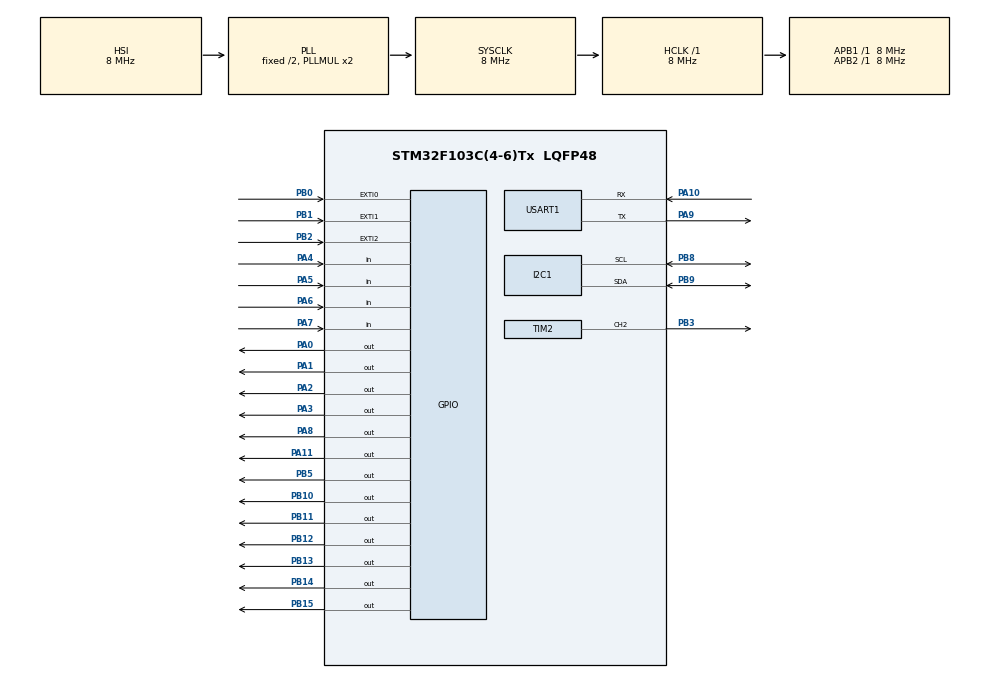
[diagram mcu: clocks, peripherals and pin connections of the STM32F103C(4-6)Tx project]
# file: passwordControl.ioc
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I2C1.I2C_Mode=I2C_Fast
Mcu.Family=STM32F1
Mcu.Name=STM32F103C(4-6)Tx
Mcu.Package=LQFP48
NVIC.EXTI0_IRQn=true\:0\:0\:false\:false\:true\:true\:true\:true
NVIC.EXTI1_IRQn=true\:0\:0\:false\:false\:true\:true\:true\:true
NVIC.EXTI2_IRQn=true\:0\:0\:false\:false\:true\:true\:true\:true
NVIC.PVD_IRQn=true\:0\:0\:false\:false\:true\:true\:true\:true
NVIC.PriorityGroup=NVIC_PRIORITYGROUP_4
PA0-WKUP.Signal=GPIO_Output
PA1.Signal=GPIO_Output
PA10.Mode=Asynchronous
PA10.Signal=USART1_RX
PA11.Signal=GPIO_Output
PA2.Signal=GPIO_Output
PA3.Signal=GPIO_Output
PA4.GPIO_PuPd=GPIO_PULLUP
PA4.Signal=GPIO_Input
PA5.GPIO_PuPd=GPIO_PULLUP
PA5.Signal=GPIO_Input
PA6.GPIO_PuPd=GPIO_PULLUP
PA6.Signal=GPIO_Input
PA7.GPIO_PuPd=GPIO_PULLUP
PA7.Signal=GPIO_Input
PA8.Signal=GPIO_Output
PA9.Mode=Asynchronous
PA9.Signal=USART1_TX
PB0.Signal=GPXTI0
PB1.Signal=GPXTI1
PB10.Signal=GPIO_Output
PB11.Signal=GPIO_Output
PB12.Signal=GPIO_Output
PB13.Signal=GPIO_Output
PB14.Signal=GPIO_Output
PB15.Signal=GPIO_Output
PB2.Signal=GPXTI2
PB3.Signal=S_TIM2_CH2
PB5.Signal=GPIO_Output
PB8.Mode=I2C
PB8.Signal=I2C1_SCL
PB9.Mode=I2C
PB9.Signal=I2C1_SDA
ProjectManager.HeapSize=0x200
ProjectManager.StackSize=0x400
ProjectManager.TargetToolchain=STM32CubeIDE
RCC.AHBFreq_Value=8000000
RCC.APB1Freq_Value=8000000
RCC.APB1TimFreq_Value=8000000
RCC.APB2Freq_Value=8000000
RCC.APB2TimFreq_Value=8000000
RCC.HCLKFreq_Value=8000000
RCC.SYSCLKFreq_VALUE=8000000
RCC.SYSCLKSource=RCC_SYSCLKSOURCE_PLLCLK
RCC.USBFreq_Value=8000000
SH.S_TIM2_CH2.0=TIM2_CH2,PWM Generation2 CH2
TIM2.Channel-PWM\ Generation2\ CH2=TIM_CHANNEL_2
TIM2.Period=1000
TIM2.Prescaler=160 -1
USART1.VirtualMode=VM_ASYNC
VP_SYS_VS_ND.Mode=No_Debug
VP_TIM2_VS_ClockSourceINT.Mode=Internal
board=custom

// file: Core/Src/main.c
/* USER CODE BEGIN Header */
/**
 ******************************************************************************
 * @file           : main.c
 * @brief          : Main program body
 ******************************************************************************
 * @attention
 *
 * Copyright (c) 2024 STMicroelectronics.
 * All rights reserved.
 *
 * This software is licensed under terms that can be found in the LICENSE file
 * in the root directory of this software component.
 * If no LICENSE file comes with this software, it is provided AS-IS.
 *
 ******************************************************************************
 */
/* USER CODE END Header */
#include "main.h"

/* USER CODE BEGIN Includes */
#include<string.h>
#include <stdlib.h>
#include"lcd_txt.h"
#include"keypad.h"
#include"EEPROM.h"

/* USER CODE END Includes */

/* USER CODE BEGIN PD */

#define changePassPB GPIO_PIN_0
#define doorUnlockPB GPIO_PIN_1
#define desactivateBuzzerPB  GPIO_PIN_2

#define PWM_Timer htim2
#define PWM_Channel TIM_CHANNEL_2

/* USER CODE END PD */

I2C_HandleTypeDef hi2c1;

TIM_HandleTypeDef htim2;

UART_HandleTypeDef huart1;

/* USER CODE BEGIN PV */

char password[5];
char entry[5];

int buzzerDesact =0;
int attemptsCount = 0;
int passwordcheck =0 ;
int newPass = 0;
int doorUnlock= 0;
int k=0;
int j = 0;

/* USER CODE END PV */

void SystemClock_Config(void);
static void MX_GPIO_Init(void);
static void MX_USART1_UART_Init(void);
static void MX_TIM2_Init(void);
static void MX_I2C1_Init(void);
/* USER CODE BEGIN PFP */

void SetServoAngle(int angle);
void HAL_GPIO_EXTI_Callback(uint16_t GPIO_Pin);

/* USER CODE END PFP */

int main(void)
{

	/* MCU Configuration--------------------------------------------------------*/

	/* Reset of all peripherals, Initializes the Flash interface and the Systick. */
	HAL_Init();

	/* Configure the system clock */
	SystemClock_Config();

	/* Initialize all configured peripherals */
	MX_GPIO_Init();
	MX_USART1_UART_Init();
	MX_TIM2_Init();
	MX_I2C1_Init();
	/* USER CODE BEGIN 2 */

	lcd_init();
	lcd_put_cur(1,6);

	// Password is located on the 3rd page at the offset 0x0 of the external EEPROM
	//EEPROM_Read(3, 0,(uint8_t*)password, 4);
	strcpy(password, "1234");

	/* USER CODE END 2 */

	/* Infinite loop */
	while (1)
	{
		/* USER CODE BEGIN 3 */

		if ((!passwordcheck) & (attemptsCount<3))
		{
			attemptsCount++;
			j=0;
			lcd_puts((uint8_t*)" Enter Password" , strlen (" Enter Password"));
			HAL_Delay(500);
			lcd_clear();

			while (j<4)
			{
				uint8_t keyPressed = keypad_scan();

				if (keyPressed)
				{
					lcd_puts((uint8_t*)" *" , strlen (" *"));
					char key[2];
					key[0] = (char)keyPressed;  // Convert to char
					key[1] = '\0';
					strcat(entry,key);
					j++;

					if (j==4)

					{
						char buffer[10];

						lcd_clear();

						int result = strcmp (password, entry);
						if (!result )
						{
							lcd_puts((uint8_t*)" Correct!" , strlen (" Correct!"));
							HAL_Delay(300);
							lcd_clear();

							GPIO_InitTypeDef GPIO_InitStruct = {0};

							GPIO_InitStruct.Pin = changePassPB|doorUnlockPB|desactivateBuzzerPB;
							GPIO_InitStruct.Mode = GPIO_MODE_IT_RISING;
							GPIO_InitStruct.Pull = GPIO_NOPULL;
							HAL_GPIO_Init(GPIOB, &GPIO_InitStruct);

							HAL_NVIC_SetPriority(EXTI0_IRQn, 0, 0);
							HAL_NVIC_EnableIRQ(EXTI0_IRQn);

							HAL_NVIC_SetPriority(EXTI1_IRQn, 0, 0);
							HAL_NVIC_EnableIRQ(EXTI1_IRQn);

							attemptsCount =0;
							passwordcheck =1;

						}
						else
						{
							memset(entry, 0, sizeof(entry));
							lcd_puts((uint8_t*)" Wrong!" , strlen (" Wrong!"));
							HAL_Delay(300);
							lcd_clear();
							char buffer[10];
							sprintf(buffer, "%d", attemptsCount);  // Convert the integer to a string

							if(attemptsCount==3)
							{
								lcd_puts((uint8_t*)" 3 failed attempts" , strlen (" 3 failed attempts"));
								HAL_Delay(300);
								lcd_clear();
								HAL_GPIO_WritePin(GPIOB, GPIO_PIN_5, GPIO_PIN_SET);

							}

						}
					}
				}
				HAL_Delay(200);
			}
		}
		if (newPass)
		{

			lcd_puts((uint8_t*)" Enter New Password:" , strlen (" Enter New Password:"));
			HAL_Delay(300);
			lcd_clear();
			memset(password, 0, sizeof(password));

			while (k<4)
			{
				uint8_t keyPressed = keypad_scan();

				if (keyPressed)
				{
					lcd_puts(&keyPressed, 1);
					char key[2];

					key[0] = (char)keyPressed;  // Convert to char
					key[1] = '\0';

					strcat(password,key);

					k++;

					if (k==4)

					{
						//EEPROM_PageErase(3);
						//EEPROM_Write(3, 0, password, 4);
						lcd_clear();
						lcd_puts((uint8_t*)" new password set!" , strlen (" new password set!"));
						HAL_Delay(300);
						lcd_clear();

					}
				}
				HAL_Delay(200);
			}
			newPass=0;
		}

		if (doorUnlock)
		{
			lcd_puts((uint8_t*)" Unlocking door..." , strlen (" Unlocking door..."));
			HAL_Delay(300);
			HAL_TIM_PWM_Start(&PWM_Timer, PWM_Channel);
			SetServoAngle(45);
			lcd_clear();

			doorUnlock = 0;
		}

		if (buzzerDesact)
		{

			lcd_puts((uint8_t*)" Desactivating Buzzer" , strlen (" Desactivating Buzzer"));
			HAL_Delay(300);
			lcd_clear();

			HAL_GPIO_WritePin(GPIOB, GPIO_PIN_5, GPIO_PIN_RESET);
			attemptsCount = 0;
			buzzerDesact=0;

		}

	}

	/* USER CODE END 3 */
}

void SystemClock_Config(void)
{
	RCC_OscInitTypeDef RCC_OscInitStruct = {0};
	RCC_ClkInitTypeDef RCC_ClkInitStruct = {0};

	/** Initializes the RCC Oscillators according to the specified parameters
	 * in the RCC_OscInitTypeDef structure.
	 */
	RCC_OscInitStruct.OscillatorType = RCC_OSCILLATORTYPE_HSI;
	RCC_OscInitStruct.HSIState = RCC_HSI_ON;
	RCC_OscInitStruct.HSICalibrationValue = RCC_HSICALIBRATION_DEFAULT;
	RCC_OscInitStruct.PLL.PLLState = RCC_PLL_ON;
	RCC_OscInitStruct.PLL.PLLSource = RCC_PLLSOURCE_HSI_DIV2;
	RCC_OscInitStruct.PLL.PLLMUL = RCC_PLL_MUL2;
	if (HAL_RCC_OscConfig(&RCC_OscInitStruct) != HAL_OK)
	{
		Error_Handler();
	}

	/** Initializes the CPU, AHB and APB buses clocks
	 */
	RCC_ClkInitStruct.ClockType = RCC_CLOCKTYPE_HCLK|RCC_CLOCKTYPE_SYSCLK
			|RCC_CLOCKTYPE_PCLK1|RCC_CLOCKTYPE_PCLK2;
	RCC_ClkInitStruct.SYSCLKSource = RCC_SYSCLKSOURCE_PLLCLK;
	RCC_ClkInitStruct.AHBCLKDivider = RCC_SYSCLK_DIV1;
	RCC_ClkInitStruct.APB1CLKDivider = RCC_HCLK_DIV1;
	RCC_ClkInitStruct.APB2CLKDivider = RCC_HCLK_DIV1;

	if (HAL_RCC_ClockConfig(&RCC_ClkInitStruct, FLASH_LATENCY_0) != HAL_OK)
	{
		Error_Handler();
	}
}

static void MX_I2C1_Init(void)
{

	hi2c1.Instance = I2C1;
	hi2c1.Init.ClockSpeed = 400000;
	hi2c1.Init.DutyCycle = I2C_DUTYCYCLE_2;
	hi2c1.Init.OwnAddress1 = 0;
	hi2c1.Init.AddressingMode = I2C_ADDRESSINGMODE_7BIT;
	hi2c1.Init.DualAddressMode = I2C_DUALADDRESS_DISABLE;
	hi2c1.Init.OwnAddress2 = 0;
	hi2c1.Init.GeneralCallMode = I2C_GENERALCALL_DISABLE;
	hi2c1.Init.NoStretchMode = I2C_NOSTRETCH_DISABLE;
	if (HAL_I2C_Init(&hi2c1) != HAL_OK)
	{
		Error_Handler();
	}

}

static void MX_TIM2_Init(void)
{

	TIM_ClockConfigTypeDef sClockSourceConfig = {0};
	TIM_MasterConfigTypeDef sMasterConfig = {0};
	TIM_OC_InitTypeDef sConfigOC = {0};

	htim2.Instance = TIM2;
	htim2.Init.Prescaler = 160 -1;
	htim2.Init.CounterMode = TIM_COUNTERMODE_UP;
	htim2.Init.Period = 1000;
	htim2.Init.ClockDivision = TIM_CLOCKDIVISION_DIV1;
	htim2.Init.AutoReloadPreload = TIM_AUTORELOAD_PRELOAD_DISABLE;
	if (HAL_TIM_Base_Init(&htim2) != HAL_OK)
	{
		Error_Handler();
	}
	sClockSourceConfig.ClockSource = TIM_CLOCKSOURCE_INTERNAL;
	if (HAL_TIM_ConfigClockSource(&htim2, &sClockSourceConfig) != HAL_OK)
	{
		Error_Handler();
	}
	if (HAL_TIM_PWM_Init(&htim2) != HAL_OK)
	{
		Error_Handler();
	}
	sMasterConfig.MasterOutputTrigger = TIM_TRGO_RESET;
	sMasterConfig.MasterSlaveMode = TIM_MASTERSLAVEMODE_DISABLE;
	if (HAL_TIMEx_MasterConfigSynchronization(&htim2, &sMasterConfig) != HAL_OK)
	{
		Error_Handler();
	}
	sConfigOC.OCMode = TIM_OCMODE_PWM1;
	sConfigOC.Pulse = 0;
	sConfigOC.OCPolarity = TIM_OCPOLARITY_HIGH;
	sConfigOC.OCFastMode = TIM_OCFAST_DISABLE;
	if (HAL_TIM_PWM_ConfigChannel(&htim2, &sConfigOC, TIM_CHANNEL_2) != HAL_OK)
	{
		Error_Handler();
	}
	HAL_TIM_MspPostInit(&htim2);

}

static void MX_USART1_UART_Init(void)
{

	huart1.Instance = USART1;
	huart1.Init.BaudRate = 115200;
	huart1.Init.WordLength = UART_WORDLENGTH_8B;
	huart1.Init.StopBits = UART_STOPBITS_1;
	huart1.Init.Parity = UART_PARITY_NONE;
	huart1.Init.Mode = UART_MODE_TX_RX;
	huart1.Init.HwFlowCtl = UART_HWCONTROL_NONE;
	huart1.Init.OverSampling = UART_OVERSAMPLING_16;
	if (HAL_UART_Init(&huart1) != HAL_OK)
	{
		Error_Handler();
	}

}

static void MX_GPIO_Init(void)
{
	GPIO_InitTypeDef GPIO_InitStruct = {0};

	/* GPIO Ports Clock Enable */
	__HAL_RCC_GPIOA_CLK_ENABLE();
	__HAL_RCC_GPIOB_CLK_ENABLE();

	/*Configure GPIO pin Output Level */
	HAL_GPIO_WritePin(GPIOA, GPIO_PIN_0|GPIO_PIN_1|GPIO_PIN_2|GPIO_PIN_3
			|GPIO_PIN_8|GPIO_PIN_11, GPIO_PIN_RESET);

	/*Configure GPIO pin Output Level */
	HAL_GPIO_WritePin(GPIOB, GPIO_PIN_10|GPIO_PIN_11|GPIO_PIN_12|GPIO_PIN_13
			|GPIO_PIN_14|GPIO_PIN_15|GPIO_PIN_5, GPIO_PIN_RESET);

	/*Configure GPIO pins : PA0 PA1 PA2 PA3
                           PA8 PA11 */
	GPIO_InitStruct.Pin = GPIO_PIN_0|GPIO_PIN_1|GPIO_PIN_2|GPIO_PIN_3
			|GPIO_PIN_8|GPIO_PIN_11;
	GPIO_InitStruct.Mode = GPIO_MODE_OUTPUT_PP;
	GPIO_InitStruct.Pull = GPIO_NOPULL;
	GPIO_InitStruct.Speed = GPIO_SPEED_FREQ_LOW;
	HAL_GPIO_Init(GPIOA, &GPIO_InitStruct);

	/*Configure GPIO pins : PA4 PA5 PA6 PA7 */
	GPIO_InitStruct.Pin = GPIO_PIN_4|GPIO_PIN_5|GPIO_PIN_6|GPIO_PIN_7;
	GPIO_InitStruct.Mode = GPIO_MODE_INPUT;
	GPIO_InitStruct.Pull = GPIO_PULLUP;
	HAL_GPIO_Init(GPIOA, &GPIO_InitStruct);

	/*Configure GPIO pins : PB10 PB11 PB12 PB13
                           PB14 PB15 PB5 */
	GPIO_InitStruct.Pin = GPIO_PIN_10|GPIO_PIN_11|GPIO_PIN_12|GPIO_PIN_13
			|GPIO_PIN_14|GPIO_PIN_15|GPIO_PIN_5;
	GPIO_InitStruct.Mode = GPIO_MODE_OUTPUT_PP;
	GPIO_InitStruct.Pull = GPIO_NOPULL;
	GPIO_InitStruct.Speed = GPIO_SPEED_FREQ_LOW;
	HAL_GPIO_Init(GPIOB, &GPIO_InitStruct);

	/* USER CODE BEGIN MX_GPIO_Init_2 */

	GPIO_InitStruct.Pin = GPIO_PIN_2;
	GPIO_InitStruct.Mode = GPIO_MODE_IT_RISING;
	GPIO_InitStruct.Pull = GPIO_NOPULL;
	HAL_GPIO_Init(GPIOB, &GPIO_InitStruct);

	HAL_NVIC_SetPriority(EXTI2_IRQn, 0, 0);
	HAL_NVIC_EnableIRQ(EXTI2_IRQn);
	/* USER CODE END MX_GPIO_Init_2 */
}

/* USER CODE BEGIN 4 */

void HAL_GPIO_EXTI_Callback(uint16_t GPIO_Pin)
{
	switch(GPIO_Pin)
	{
	case changePassPB:
		newPass = 1;
		break;
	case doorUnlockPB:
		doorUnlock = 1;
		break;
	case desactivateBuzzerPB:
		buzzerDesact = 1;
		break;
	}

}

void SetServoAngle(int angle)
{
	if (angle >180)
	{
		angle = 180;
	}
	else if(angle < 0)
	{
		angle =0;
	}

	/*	pulseWidth = 0.5 + 0.0111 * angle
	dutyCycle =  (0.5 + 0.0111 * angle) /20
	CCR1 = dutyCycle * ARR*/

	uint32_t pulse = 25 + 0.55 * angle;
	__HAL_TIM_SET_COMPARE(&PWM_Timer, PWM_Channel,pulse);

}

/* USER CODE END 4 */

void Error_Handler(void)
{
	__disable_irq();
	while (1)
	{
	}
}
